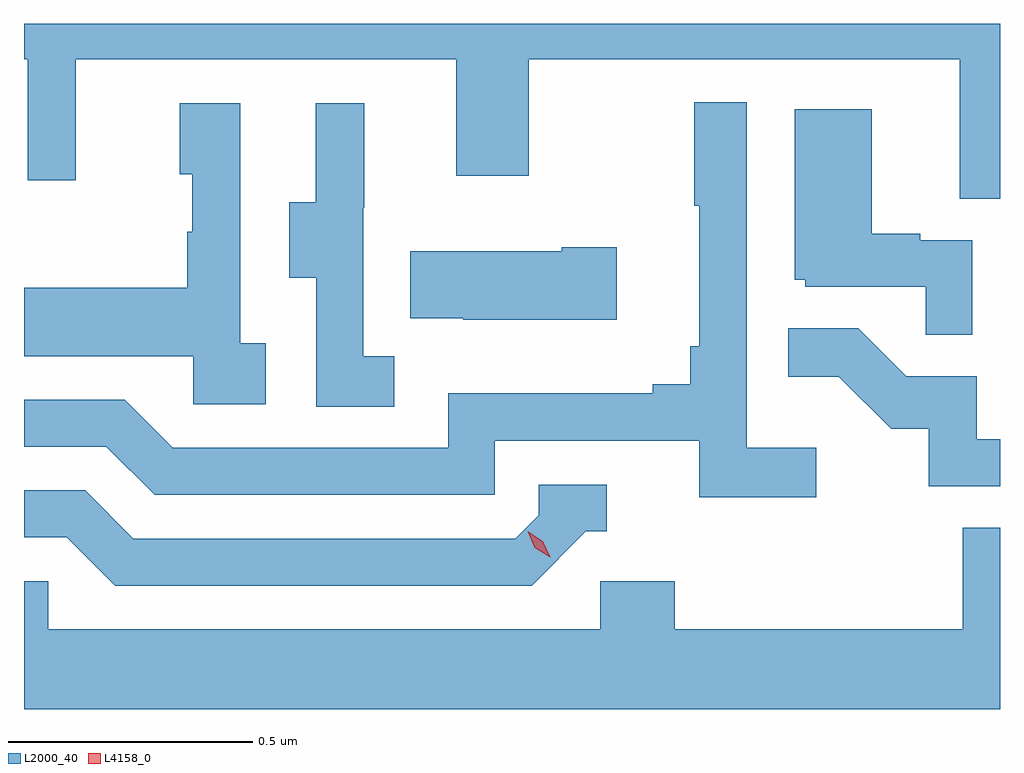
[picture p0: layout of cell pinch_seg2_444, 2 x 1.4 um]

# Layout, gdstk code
import gdstk
lib = gdstk.Library(unit=1e-6, precision=1e-09)
def P(c, l, *ps):  # polygons
    for p in ps: c.add(gdstk.Polygon(p, *l))
L2000_40 = (2000, 40)
L4158_0 = (4158, 0)

pinch_seg2_444 = lib.new_cell('pinch_seg2_444')
P(pinch_seg2_444, L2000_40, [(930.777,619.736),(928.777,619.736),(928.777,619.664),(928.785,619.664),(928.785,619.416),(928.883,619.416),(928.883,619.664),(929.663,619.664),(929.663,619.425),(929.811,619.425),(929.811,619.664),(930.695,619.664),(930.695,619.378),(930.777,619.378)],
  [(930.4,618.868),(930.258,618.868),(930.258,619.576),(930.15,619.576),(930.15,619.363),(930.161,619.363),(930.161,619.075),(930.142,619.075),(930.142,618.998),(930.065,618.998),(930.065,618.979),(929.646,618.979),(929.646,618.867),(929.082,618.867),(928.983,618.966),(928.777,618.966),(928.777,618.87),(928.946,618.87),(929.045,618.771),(929.742,618.771),(929.742,618.882),(930.161,618.882),(930.161,618.766),(930.4,618.766)],
  [(929.536,619.055),(929.472,619.055),(929.472,619.359),(929.474,619.359),(929.474,619.573),(929.375,619.573),(929.375,619.371),(929.321,619.371),(929.321,619.216),(929.376,619.216),(929.376,618.952),(929.536,618.952)],
  [(929.272,619.082),(929.22,619.082),(929.22,619.573),(929.096,619.573),(929.096,619.428),(929.122,619.428),(929.122,619.31),(929.112,619.31),(929.112,619.195),(928.777,619.195),(928.777,619.055),(929.124,619.055),(929.124,618.957),(929.272,618.957)],
  [(930.72,619.293),(930.614,619.293),(930.614,619.306),(930.514,619.306),(930.514,619.561),(930.356,619.561),(930.356,619.212),(930.378,619.212),(930.378,619.197),(930.625,619.197),(930.625,619.099),(930.72,619.099)],
  [(929.992,619.278),(929.879,619.278),(929.879,619.27),(929.569,619.27),(929.569,619.133),(929.677,619.133),(929.677,619.13),(929.992,619.13)],
  [(930.777,618.885),(930.729,618.885),(930.729,619.014),(930.585,619.014),(930.487,619.112),(930.343,619.112),(930.343,619.013),(930.447,619.013),(930.554,618.906),(930.631,618.906),(930.631,618.789),(930.777,618.789)],
  [(929.928,618.696),(929.971,618.696),(929.971,618.792),(929.832,618.792),(929.832,618.729),(929.784,618.681),(929.001,618.681),(928.902,618.78),(928.777,618.78),(928.777,618.684),(928.865,618.684),(928.964,618.585),(929.817,618.585)],
  [(930.777,618.704),(930.701,618.704),(930.701,618.496),(930.11,618.496),(930.11,618.594),(929.958,618.594),(929.958,618.496),(928.827,618.496),(928.827,618.594),(928.777,618.594),(928.777,618.332),(930.777,618.332)])
P(pinch_seg2_444, L4158_0, [(929.855,618.643),(929.824,618.663),(929.809,618.696),(929.809,618.696),(929.809,618.696),(929.84,618.676),(929.855,618.643),(929.855,618.643)])

lib.write_gds('pinch_seg2_444.gds')
